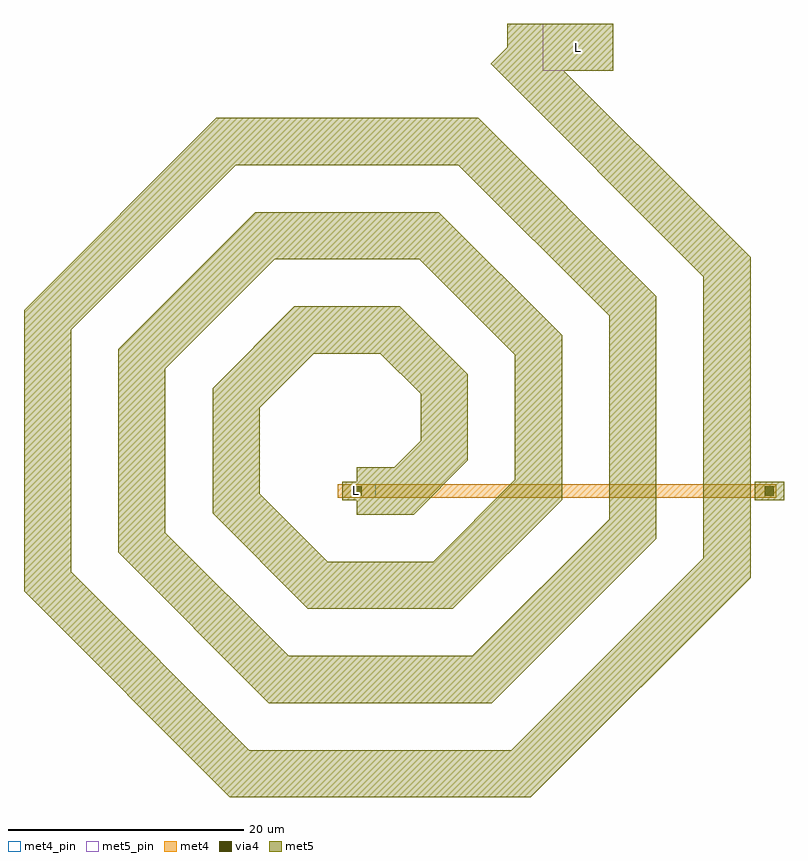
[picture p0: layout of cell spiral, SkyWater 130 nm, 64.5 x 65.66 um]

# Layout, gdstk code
import gdstk
lib = gdstk.Library(unit=1e-6, precision=1e-09)
def R(c, l, rs):  # rectangles x0, y0, x1, y1
    for r in rs: c.add(gdstk.rectangle(r[:2], r[2:], *l))
def P(c, l, *ps):  # polygons
    for p in ps: c.add(gdstk.Polygon(p, *l))
met4_pin = (71, 16)
met4 = (71, 20)
via4 = (71, 44)
met5_pin = (72, 16)
met5 = (72, 20)

spiral = lib.new_cell('spiral')
R(spiral, met4_pin, [(-1.6,-0.59,1.6,0.59)])
R(spiral, met4, [(-1.6,-0.59,1.6,0.59), (-0.59,-0.59,0.59,0.59), (1.6,-0.59,35,0.59), (34.41,-0.59,35.59,0.59)])
R(spiral, via4, [(-0.4,-0.4,0.4,0.4), (34.6,-0.4,35.4,0.4)])
R(spiral, met5_pin, [(15.77,35.655,21.77,39.655)])
R(spiral, met5, [(-1.25,-0.8,1.25,0.8), (33.75,-0.8,36.25,0.8), (12.77,35.655,15.77,39.655), (15.77,35.655,21.77,39.655)])
P(spiral, met5, [(-10.77,-26),(-28.245,-8.53),(-28.245,15.355),(-11.945,31.655),(10.285,31.655),(25.415,16.53),(25.415,-4.045),(11.455,-18),(-7.455,-18),(-20.245,-5.215),(-20.245,12.045),(-8.63,23.655),(6.97,23.655),(17.415,13.215),(17.415,-0.73),(8.145,-10),(-4.145,-10),(-12.245,-1.9),(-12.245,8.73),(-5.315,15.655),(3.66,15.655),(9.415,9.9),(9.415,2.585),(4.83,-2),(0,-2),(0,2),(3.17,2),(5.415,4.245),(5.415,8.24),(2,11.655),(-3.655,11.655),(-8.245,7.07),(-8.245,-0.24),(-2.485,-6),(6.485,-6),(13.415,0.93),(13.415,11.555),(5.31,19.655),(-6.97,19.655),(-16.245,10.385),(-16.245,-3.555),(-5.795,-14),(9.795,-14),(21.415,-2.385),(21.415,14.87),(8.625,27.655),(-10.285,27.655),(-24.245,13.695),(-24.245,-6.87),(-9.11,-22),(13.11,-22),(29.415,-5.695),(29.415,18.18),(11.355,36.24),(14.185,39.07),(33.415,19.84),(33.415,-7.355),(14.77,-26)])
spiral.add(gdstk.Label('L', (18.77,37.655), layer=72, texttype=16))
spiral.add(gdstk.Label('L', (18.77,37.655), layer=72, texttype=5))
spiral.add(gdstk.Label('L', (0,0), layer=71, texttype=16))
spiral.add(gdstk.Label('L', (0,0), layer=71, texttype=5))

lib.write_gds('spiral.gds')
